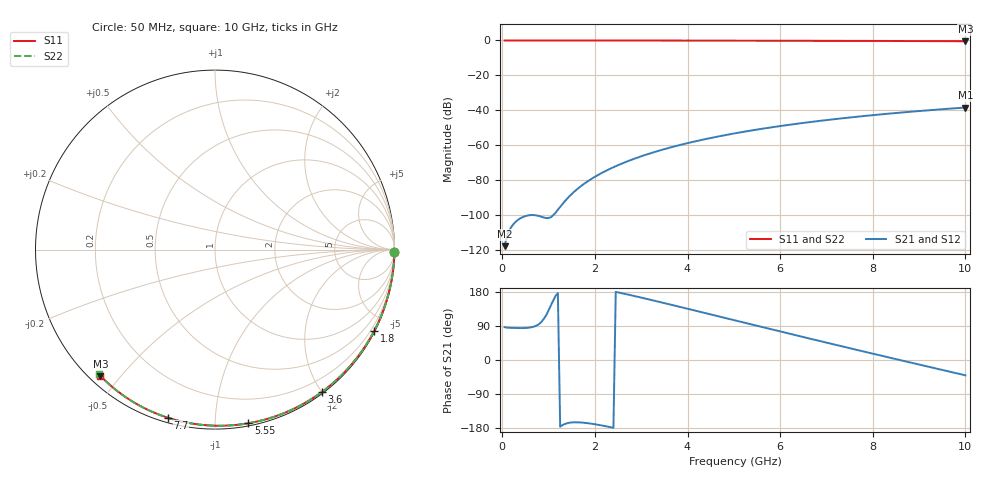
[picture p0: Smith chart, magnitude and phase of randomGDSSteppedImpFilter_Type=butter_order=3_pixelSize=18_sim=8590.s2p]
! freq	dB(S11)	phase(S11)	dB(S12)	phase(S12)
!  dB(S21)	phase(S21)	dB(S22)	phase(S22)
!S-par simulation data
#  GHz  S  DB  R 50
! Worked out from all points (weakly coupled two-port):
!   200 points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, 50 MHz to 10 GHz, reference 50 ohm
!   highest |S21| = -38.33 dB at 10 GHz (marker M1); lowest = -117.5 dB at 50 MHz (marker M2)
!   lowest |S11| = -0.4 dB at 10 GHz (marker M3), VSWR 38.94, Z = 1.54 - j22.1 ohm
!   |S11| at or under -10 dB: nowhere
!   |S22| runs from -0.4 to 0.0 dB; largest |S21 - S12| = 0
!   S11 on the Smith chart (normalised r, x): 50 MHz: open; 1.8 GHz: 0.04, -4.15; 3.6 GHz: 0.02, -2.01; 5.55 GHz: 0.02, -1.21; 7.7 GHz: 0.02, -0.76; 10 GHz: 0.03, -0.44
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0.05  -0.00 -0.8  -117.54 86.7  -117.54 86.7  -0.00 -0.8
0.9  -0.02 -13.7  -101.19 109.2  -101.19 109.2  -0.02 -13.8
1.75  -0.03 -26.4  -82.21 -165.4  -82.21 -165.4  -0.03 -26.6
1.8  -0.03 -27.1  -81.26 -166.0  -81.26 -166.0  -0.03 -27.3
1.85  -0.04 -27.8  -80.37 -166.8  -80.37 -166.8  -0.04 -28.0
1.9  -0.04 -28.6  -79.51 -167.6  -79.51 -167.6  -0.04 -28.8
2.05  -0.04 -30.8  -77.12 -170.6  -77.12 -170.6  -0.04 -31.0
2.25  -0.04 -33.7  -74.31 -175.1  -74.31 -175.1  -0.04 -34.0
2.45  -0.05 -36.6  -71.83 179.8  -71.83 179.8  -0.05 -36.9
2.65  -0.05 -39.5  -69.60 174.5  -69.60 174.5  -0.05 -39.8
3  -0.06 -44.5  -66.19 164.7  -66.19 164.7  -0.06 -44.8
3.4  -0.07 -50.2  -62.85 153.1  -62.85 153.1  -0.07 -50.5
3.6  -0.07 -53.0  -61.36 147.2  -61.36 147.2  -0.07 -53.4
4.3  -0.09 -62.6  -56.85 126.3  -56.85 126.3  -0.09 -63.0
5.05  -0.11 -72.6  -52.93 103.8  -52.93 103.8  -0.11 -73.1
5.55  -0.13 -79.2  -50.71 88.8  -50.71 88.8  -0.13 -79.7
6.1  -0.15 -86.2  -48.54 72.4  -48.54 72.4  -0.15 -86.7
6.7  -0.18 -93.6  -46.45 54.7  -46.45 54.7  -0.18 -94.2
7.7  -0.24 -105.7  -43.47 25.4  -43.47 25.4  -0.24 -106.4
8.35  -0.29 -113.3  -41.81 6.6  -41.81 6.6  -0.29 -114.0
9.15  -0.36 -122.6  -40.00 -16.3  -40.00 -16.3  -0.36 -123.3
10  -0.45 -132.2  -38.33 -40.4  -38.33 -40.4  -0.45 -133.1
